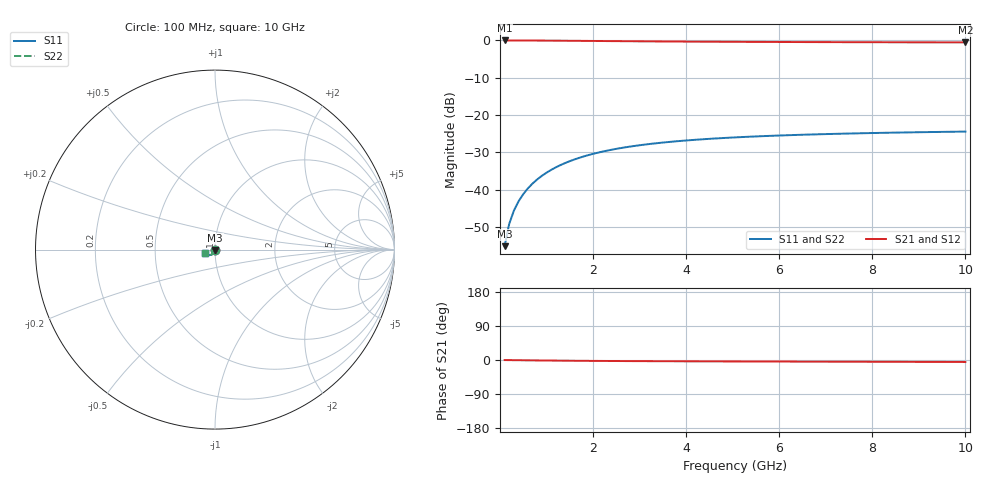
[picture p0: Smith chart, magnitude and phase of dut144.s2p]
! Touchstone file exported from HFSS 2024.1.0
!  File:  C:/UserFiles/LocalFiles/RDL_TSV_Batchsim/temp_TSV1_144_1779380711.aedt
!  Generated:  12:30:55 AM May 22, 2026
!  Design:  TSV1
!  Project:  temp_TSV1_144_1779380711
!  Setup:  Setup1
!  Solution:  Sweep
! Variables:
!  dtsv = 13.99um
!  hbump = 3um
!  htsv = 79.91um
!  lrdl = 252.1521522um
!  p = 40
!  p1 = 50.33um
!  t = 500um
!  trdl = 3um
!  wrdl = 24.89489489um
# GHz S MA R 50.000000
! Terminal data exported
! Port[1] = TSV22_T1
! Port[2] = TSV22_T2
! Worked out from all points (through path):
!   100 points, 100 MHz to 10 GHz, reference 50 ohm
!   highest |S21| = 0.00 dB at 100 MHz (marker M1); lowest = -0.5 dB at 10 GHz (marker M2)
!   lowest |S11| = -55.1 dB at 100 MHz (marker M3), VSWR 1.00, Z = 50 - j0.176 ohm
!   |S11| at or under -10 dB: start of sweep to end of sweep
!   |S22| runs from -55.1 to -24.4 dB; largest |S21 - S12| = 1.3e-14
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0.1  0.001759 -89.0  0.9999 -0.1  0.9999 -0.1  0.001759 -89.0
! Gamma 0 0 0 0
! Port Impedance 50 0 50 0
0.2  0.003516 -91.9  0.9997 -0.3  0.9997 -0.3  0.003516 -91.9
0.3  0.005271 -94.0  0.9994 -0.4  0.9994 -0.4  0.005271 -94.0
0.4  0.007017 -96.0  0.999 -0.6  0.999 -0.6  0.007017 -96.0
0.5  0.008745 -97.8  0.9985 -0.7  0.9985 -0.7  0.008745 -97.8
0.6  0.01045 -99.6  0.998 -0.8  0.998 -0.8  0.01045 -99.6
0.7  0.01213 -101.4  0.9973 -1.0  0.9973 -1.0  0.01213 -101.4
0.8  0.01377 -103.1  0.9966 -1.1  0.9966 -1.1  0.01377 -103.1
0.9  0.01538 -104.8  0.9958 -1.2  0.9958 -1.2  0.01538 -104.8
1.1  0.01849 -108.0  0.994 -1.5  0.994 -1.5  0.01849 -108.0
1.4  0.02283 -112.6  0.9911 -1.8  0.9911 -1.8  0.02283 -112.6
1.6  0.0255 -115.5  0.9889 -2.0  0.9889 -2.0  0.0255 -115.5
1.8  0.02798 -118.2  0.9867 -2.2  0.9867 -2.2  0.02798 -118.2
2.1  0.03139 -122.0  0.9834 -2.4  0.9834 -2.4  0.03139 -122.0
2.5  0.03535 -126.6  0.979 -2.7  0.979 -2.7  0.03535 -126.6
2.9  0.03874 -130.6  0.975 -2.9  0.975 -2.9  0.03874 -130.6
3.4  0.04229 -135.1  0.9703 -3.2  0.9703 -3.2  0.04229 -135.1
4.2  0.04676 -141.0  0.964 -3.5  0.964 -3.5  0.04676 -141.0
5.1  0.05051 -146.3  0.9583 -3.8  0.9583 -3.8  0.05051 -146.3
6.7  0.05508 -153.6  0.9509 -4.3  0.9509 -4.3  0.05508 -153.6
8.4  0.0582 -159.3  0.9456 -4.8  0.9456 -4.8  0.0582 -159.3
10  0.06019 -163.6  0.9421 -5.3  0.9421 -5.3  0.06019 -163.6
